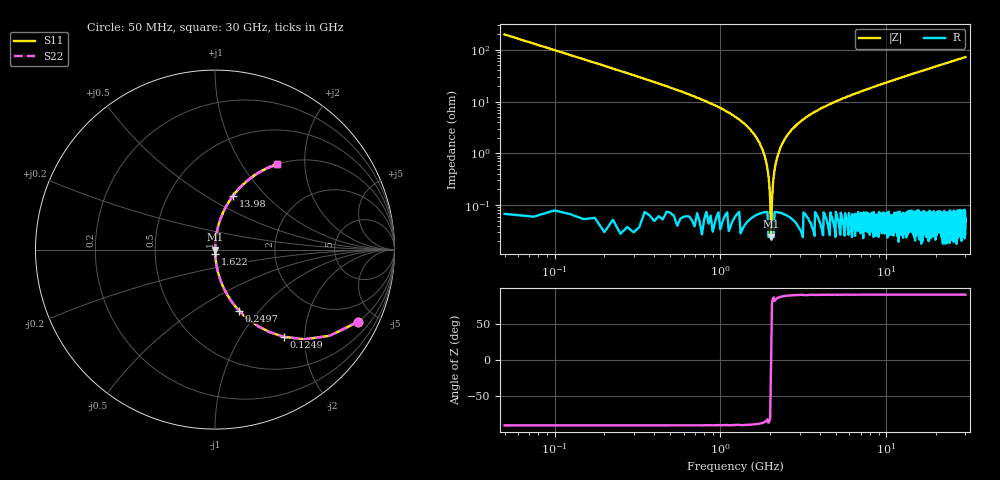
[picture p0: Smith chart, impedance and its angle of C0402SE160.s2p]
!	AVX Thin Film Operation 	Date: April 2014
!	Description: Accu-P® Series, Thin Film  SMD RF Capacitor
!	Part Number: 04023K160FBSTR
# MHZ S MA R 50
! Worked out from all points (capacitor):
!   1201 points, 50 MHz to 30 GHz, reference 50 ohm
!   read as one part in series: C = 16 pF near 199.8 MHz
!   lowest |Z| = 24.5 mohm at 2.022 GHz (marker M1)
!   series resonance near 2.022 GHz, so ESL is about 390 pH
!   S11 on the Smith chart (normalised r, x): 50 MHz: 1.00, -3.98; 124.9 MHz: 1.00, -1.59; 249.7 MHz: 1.00, -0.78; 1.622 GHz: 1.00, -0.04; 13.98 GHz: 1.00, +0.67; 30 GHz: 1.00, +1.45
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50  0.893 -26.7  0.449 63.3  0.449 63.3  0.893 -26.7
124.875  0.621 -51.5  0.783 38.4  0.783 38.4  0.621 -51.5
249.667  0.365 -68.5  0.931 21.4  0.931 21.4  0.365 -68.5
399.417  0.233 -76.4  0.972 13.5  0.972 13.5  0.233 -76.4
673.958  0.13 -82.3  0.991 7.5  0.991 7.5  0.13 -82.3
1322.875  0.043 -86.9  0.999 2.5  0.999 2.5  0.043 -86.9
1622.375  0.022 -87.5  0.999 1.3  0.999 1.3  0.022 -87.5
1797.083  0.012 -86.9  0.999 0.7  0.999 0.7  0.012 -86.9
1921.875  0.00502 -84.1  0.999 0.3  0.999 0.3  0.00502 -84.1
2021.708  0.00049 -1.6  1 0.0  1 0.0  0.00049 -1.6
2121.542  0.004754 83.8  0.999 -0.3  0.999 -0.3  0.004754 83.8
2246.333  0.01 86.7  0.999 -0.6  0.999 -0.6  0.01 86.7
2371.125  0.016 87.3  0.999 -0.9  0.999 -0.9  0.016 87.3
2795.417  0.032 87.3  0.999 -1.9  0.999 -1.9  0.032 87.3
3668.958  0.062 86.0  0.998 -3.6  0.998 -3.6  0.062 86.0
5041.667  0.102 83.9  0.994 -5.9  0.994 -5.9  0.102 83.9
10058.29  0.229 76.7  0.973 -13.2  0.973 -13.2  0.229 76.7
13976.75  0.316 71.5  0.948 -18.4  0.948 -18.4  0.316 71.5
15025  0.338 70.2  0.941 -19.7  0.941 -19.7  0.338 70.2
20016.67  0.434 64.2  0.9 -25.7  0.9 -25.7  0.434 64.2
25033.29  0.518 58.8  0.855 -31.2  0.855 -31.2  0.518 58.8
30000  0.588 54.0  0.809 -36.0  0.809 -36.0  0.588 54.0
